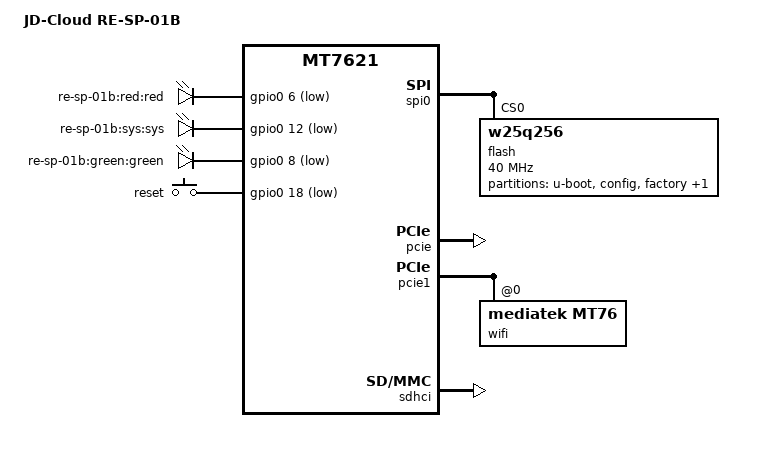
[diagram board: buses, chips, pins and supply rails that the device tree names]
// SPDX-License-Identifier: GPL-2.0-or-later OR MIT
/dts-v1/;

#include "mt7621.dtsi"

#include <dt-bindings/gpio/gpio.h>
#include <dt-bindings/input/input.h>

/ {
	compatible = "jd-cloud,re-sp-01b", "mediatek,mt7621-soc";
	model = "JD-Cloud RE-SP-01B";

	aliases {
		led-boot = &led_sys;
		led-failsafe = &led_red;
		led-running = &led_green;
		led-upgrade = &led_sys;
		label-mac-device = &ethernet;
	};

	chosen {
		bootargs = "console=ttyS0,115200";
	};

	leds {
		compatible = "gpio-leds";

		led_red: red {
			label = "re-sp-01b:red:red";
			gpios = <&gpio0 6 GPIO_ACTIVE_LOW>;
		};

		led_sys: sys {
			label = "re-sp-01b:sys:sys";
			gpios = <&gpio0 12 GPIO_ACTIVE_LOW>;
		};

		led_green: green {
			label = "re-sp-01b:green:green";
			gpios = <&gpio0 8 GPIO_ACTIVE_LOW>;
		};
	};

	keys {
		compatible = "gpio-keys-polled";
		poll-interval = <20>;

		reset {
			label = "reset";
			gpios = <&gpio0 18 GPIO_ACTIVE_LOW>;
			linux,code = <KEY_RESTART>;
		};
	};

};

&spi0 {
	status = "okay";

	flash@0 {
		compatible = "w25q256", "jedec,spi-nor";
		reg = <0>;
		spi-max-frequency = <40000000>;
		m25p,fast-read;

		partitions {
			compatible = "fixed-partitions";
			#address-cells = <1>;
			#size-cells = <1>;

			partition@0 {
				label = "u-boot";
				reg = <0x0 0x30000>;
				read-only;
			};

			config: partition@30000 {
				label = "config";
				reg = <0x30000 0x10000>;
				read-only;
			};

			factory: partition@40000 {
				label = "factory";
				reg = <0x40000 0x10000>;
				read-only;
			};

			partition@50000 {
				compatible = "denx,uimage";
				label = "firmware";
				reg = <0x50000 0x1fb0000>;
			};

		};
	};
};

&pcie {
	status = "okay";
};

&pcie0 {
	wifi@0,0 {
		reg = <0x0000 0 0 0 0>;
		mediatek,mtd-eeprom = <&factory 0x0000>;
		ieee80211-freq-limit = <2400000 2500000>;
		mtd-mac-address-ascii = <&config 0x4429>;
	};
};


&pcie1 {
	wifi@0,0 {
		compatible = "mediatek,mt76";
		reg = <0x0000 0 0 0 0>;
		mediatek,mtd-eeprom = <&factory 0x8000>;
		ieee80211-freq-limit = <5000000 6000000>;
		mtd-mac-address-ascii = <&config 0x4429>;
		mtd-mac-address-increment = <0x80>;
		mtd-mac-address-increment-byte = <0x3>;
	};
};

&ethernet {
	mtd-mac-address-ascii = <&config 0x4429>;
};

&switch0 {
	ports {
		port@0 {
			status = "okay";
			label = "wan";
		};

		port@1 {
			status = "okay";
			label = "lan1";
		};

		port@2 {
			status = "okay";
			label = "lan2";
		};
	};
};

&sdhci {
	status = "okay";
};

&pinctrl {
	state_default: pinctrl0 {
		gpio {
			ralink,group = "uart2", "uart3", "wdt";
			ralink,function = "gpio";
		};
	};
};
